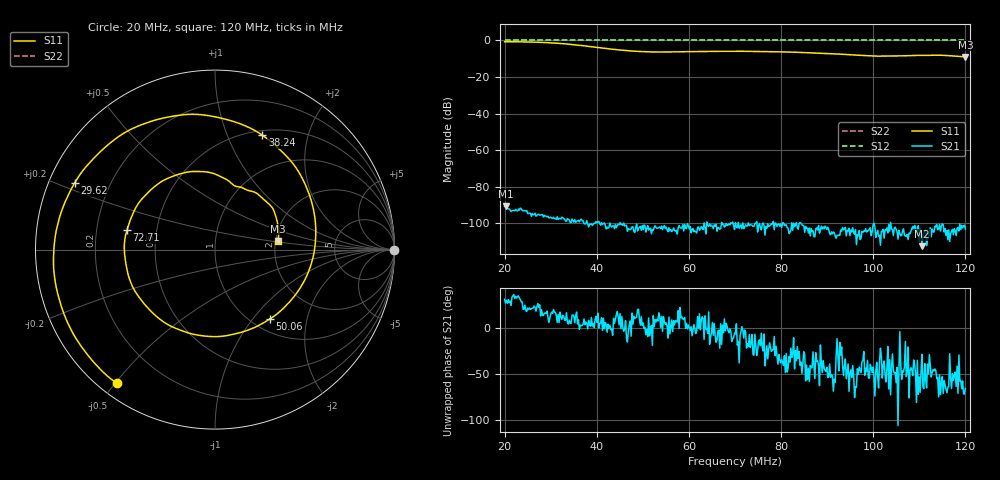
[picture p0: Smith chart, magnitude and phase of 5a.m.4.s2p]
! Anritsu VNA Master:  Model: MS2036C/10/77
! SN:  1601066
! /card0/usr/18may27.balun/5a.m4.s2p
! Existing Calibration Information:
! TYPE:  Current Settings,  Active Cal Settings
! TIME:  05/27/2018 05:26:25 PM,  05/27/2018 05:09:13 PM
! INTERNAL TEMP:  53.3 C,  53.3 C
! # POINTS:  500,  500
! START FREQ:  20.000 MHz,  20.000 MHz
! STOP FREQ:  120.000 MHz,  120.000 MHz
! SOURCE POWER:  High,  High
! IFBW:  50 Hz,  50 Hz
! AVG FACTOR:  1 ,  1
! REF PLANE 1:  0 mm,  0 mm
! REF PLANE 2:  0 mm,  0 mm
! CAL TYPE:  Full S11,  Full S11
! CAL METHOD:  SOLT,  SOLT
! CAL LINE TYPE:  Coax,  Coax
! DUT PORT 1:  K-Conn(M),  K-Conn(M)
! DUT PORT 2:  K-Conn(M),  K-Conn(M)
! CAL STATUS:  OK: Accuracy High,  --
# GHZ S DB R 50.0
! FREQ.GHZ  S11DB  S11A  S21DB  S21A  S12DB  S12A  S22DB  S22A
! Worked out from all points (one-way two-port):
!   500 points, 20 MHz to 120 MHz, reference 50 ohm
!   highest |S21| = -90.74 dB at 20.2 MHz (marker M1); lowest = -112.6 dB at 110.6 MHz (marker M2)
!   lowest |S11| = -9.1 dB at 120 MHz (marker M3), VSWR 2.09, Z = 103 + j11.3 ohm
!   |S11| at or under -10 dB: nowhere
!   |S22| runs from 0.0 to 0.0 dB; largest |S21 - S12| = 1
!   S11 on the Smith chart (normalised r, x): 20 MHz: 0.05, -0.50; 29.62 MHz: 0.08, +0.22; 38.24 MHz: 0.55, +1.34; 50.06 MHz: 1.20, -1.23; 72.71 MHz: 0.34, +0.10; 120 MHz: 2.05, +0.23
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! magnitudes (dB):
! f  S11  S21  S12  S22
! 20 MHz  -0.7  -90.9  0.0  0.0
! 20.2 MHz  -0.7  -90.7  0.0  0.0
! 25.81 MHz  -0.9  -96.3  0.0  0.0
! 29.62 MHz  -1.3  -97.1  0.0  0.0
! 32.83 MHz  -1.8  -97.6  0.0  0.0
! 36.83 MHz  -2.8  -98.7  0.0  0.0
! 38.24 MHz  -3.2  -102.1  0.0  0.0
! 44.25 MHz  -5.0  -102.5  0.0  0.0
! 47.86 MHz  -5.8  -102.1  0.0  0.0
! 50.06 MHz  -6.1  -103.6  0.0  0.0
! 53.47 MHz  -6.3  -102.5  0.0  0.0
! 70.1 MHz  -5.9  -99.8  0.0  0.0
! 72.71 MHz  -6.0  -101.6  0.0  0.0
! 77.11 MHz  -6.1  -100.3  0.0  0.0
! 86.73 MHz  -6.8  -104.6  0.0  0.0
! 92.14 MHz  -7.4  -106.8  0.0  0.0
! 99.76 MHz  -8.5  -104.9  0.0  0.0
! 103.4 MHz  -8.5  -100.8  0.0  0.0
! 110.6 MHz  -8.2  -112.6  0.0  0.0
! 114.8 MHz  -8.1  -101.7  0.0  0.0
! 118.4 MHz  -8.6  -102.4  0.0  0.0
! 120 MHz  -9.1  -103.3  0.0  0.0
